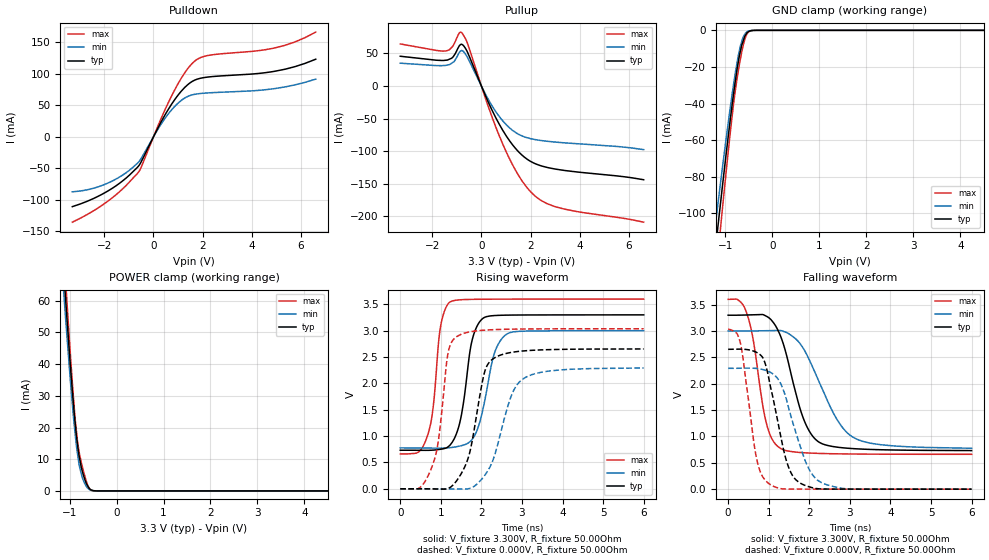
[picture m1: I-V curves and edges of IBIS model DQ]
| [Disclaimer]  This software code and all associated documentation, comments
| or other information (collectively "Software") is provided
| "AS IS" without warranty of any kind. MICRON TECHNOLOGY, INC.
| ("MTI") EXPRESSLY DISCLAIMS ALL WARRANTIES EXPRESS OR IMPLIED,
| INCLUDING BUT NOT LIMITED TO, NONINFRINGEMENT OF THIRD PARTY
| RIGHTS, AND ANY IMPLIED WARRANTIES OF MERCHANTABILITY OR
| FITNESS FOR ANY PARTICULAR PURPOSE. MTI DOES NOT WARRANT THAT
| THE SOFTWARE WILL MEET YOUR REQUIREMENTS, OR THAT THE
| OPERATION OF THE SOFTWARE WILL BE UNINTERRUPTED OR ERROR-FREE.
| FURTHERMORE, MTI DOES NOT MAKE ANY REPRESENTATIONS REGARDING
| THE USE OR THE RESULTS OF THE USE OF THE SOFTWARE IN TERMS OF
| ITS CORRECTNESS, ACCURACY, RELIABILITY, OR OTHERWISE. THE
| ENTIRE RISK ARISING OUT OF USE OR PERFORMANCE OF THE SOFTWARE
| REMAINS WITH YOU. IN NO EVENT SHALL MTI, ITS AFFILIATED
| COMPANIES OR THEIR SUPPLIERS BE LIABLE FOR ANY DIRECT,
| INDIRECT, CONSEQUENTIAL, INCIDENTAL, OR SPECIAL DAMAGES
| (INCLUDING, WITHOUT LIMITATION, DAMAGES FOR LOSS OF PROFITS,
| BUSINESS INTERRUPTION, OR LOSS OF INFORMATION) ARISING OUT OF
| YOUR USE OF OR INABILITY TO USE THE SOFTWARE, EVEN IF MTI HAS
| BEEN ADVISED OF THE POSSIBILITY OF SUCH DAMAGES. Because some
| jurisdictions prohibit the exclusion or limitation of
| liability for consequential or incidental damages, the above
| limitation may not apply to you.
| [Copyright] Copyright 2019 Micron Technology, Inc. All rights reserved.
| From y65a_it.ibs, Micron Technology, Inc.
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|   MODEL DQ
[Model]   DQ
Model_type   I/O
Vinl = 800.000mV
Vinh = 2.000V
Vmeas = 1.500V
Cref = 50.000pF
|   typ   min   max
C_comp   3.872pF   3.722pF   4.022pF
[Voltage Range]   3.300V   3.000V   3.600V
| Junction Temperature (Case temp is 35C typ, 85C min, -40C max)
[Temperature Range]   50.0   95.0   -40.0
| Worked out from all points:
|   slope of the pulldown table from 0 to 0.495 V, typ, clamps not added: 13.6 ohm
|   slope of the pullup table from 0 to 0.495 V, typ, clamps not added: 11.8 ohm
|   GND clamp passes 1 mA (typ) near -0.52 V on its own axis
|   POWER clamp passes 1 mA (typ) near -0.59 V on its own axis
|   falling waveform, V_fixture 3.300V, R_fixture 50.00Ohm: 20-80 % time 559ps typ, 834ps min, 371ps max; typ from 3.3 V to 0.732 V
|   rising waveform, V_fixture 3.300V, R_fixture 50.00Ohm: 20-80 % time 297ps typ, 371ps min, 227ps max; typ from 0.732 V to 3.3 V
|   rising waveform, V_fixture 0.000V, R_fixture 50.00Ohm: 20-80 % time 398ps typ, 536ps min, 288ps max; typ from 0 V to 2.65 V
|   falling waveform, V_fixture 0.000V, R_fixture 50.00Ohm: 20-80 % time 442ps typ, 561ps min, 319ps max; typ from 2.65 V to 0 V
[Pulldown]
|   Voltage   I(typ)   I(min)   I(max)
-3.3V     -110.6mA   -87.2mA    -135.3mA
-1.86V    -85.97mA   -73.4mA    -102.1mA
-1.115V   -65.41mA   -56.99mA   -77.2mA
-625mV    -47.14mA   -40.94mA   -56.8mA
-440mV    -35.13mA   -30.25mA   -42.7mA
240mV     18.47mA    15.87mA    22.57mA
685mV     48.55mA    40.32mA    60.69mA
1.23V     76.56mA    60.42mA    98.94mA
1.71V     90.37mA    67.59mA    121mA
2.37V     95.37mA    69.94mA    129.9mA
4.925V    103.8mA    76.42mA    140.8mA
6.6V      123mA      91.43mA    166mA
[GND Clamp]
|   Voltage   I(typ)   I(min)   I(max)
-3.3V     -648.2mA   -578.5mA   -739.3mA
-1.215V   -120.2mA   -106.8mA   -137.6mA
-1.145V   -103.9mA   -92.05mA   -118.9mA
-1.115V   -97.05mA   -85.72mA   -111mA
-1.08V    -89.06mA   -78.5mA    -101.9mA
-875mV    -44.44mA   -38.31mA   -51.05mA
-750mV    -21.03mA   -17.5mA    -26.17mA
-680mV    -11.38mA   -8.489mA   -15.68mA
-625mV    -6.097mA   -3.869mA   -8.739mA
-565mV    -2.374mA   -1.321mA   -3.287mA
-515mV    -896.2uA   -437uA     -1.127mA
6.6V      0A         0A         0A
[Pullup]
|   Voltage   I(typ)   I(min)   I(max)
-3.3V     45.67mA    35.05mA    64.57mA
-1.41V    39.69mA    31.94mA    54.02mA
-1.115V   46.66mA    37.32mA    64.32mA
-830mV    63.9mA     54.1mA     82.76mA
-565mV    51.92mA    43.73mA    65.57mA
205mV     -18.3mA    -15.31mA   -23.27mA
745mV     -59.89mA   -47.7mA    -78.02mA
1.41V     -96.82mA   -71.9mA    -130.8mA
1.995V    -115.6mA   -80.8mA    -162.1mA
2.445V    -122.8mA   -83.81mA   -176.2mA
3.085V    -128mA     -86.39mA   -186.2mA
6.6V      -143.9mA   -97.69mA   -209.1mA
[POWER Clamp]
|   Voltage   I(typ)   I(min)   I(max)
-3.3V     589.7mA    562.5mA    639.3mA
-1.14V    72.67mA    66.18mA    79.89mA
-1.115V   67.27mA    60.84mA    73.91mA
-1.08V    59.71mA    53.69mA    65.55mA
-1.06V    55.39mA    49.79mA    60.79mA
-935mV    30.66mA    26.55mA    32.99mA
-880mV    21.34mA    17.95mA    22.65mA
-830mV    14.6mA     11.71mA    15.51mA
-785mV    10.16mA    7.415mA    11.36mA
-730mV    6.315mA    4.255mA    7.813mA
-570mV    646.4uA    346.9uA    607.4uA
6.6V      0A         0A         0A
[Ramp]
R_load = 50.00Ohm
|   typ   min   max
dV/dt_r   1.592V/397.527ps   1.375V/536.012ps   1.822V/286.397ps
dV/dt_f   1.541V/558.831ps   1.334V/833.260ps   1.763V/370.354ps
[Falling Waveform]
V_fixture = 3.300V
V_fixture_min = 3.000V
V_fixture_max = 3.600V
R_fixture = 50.00Ohm
|   Time   V(typ)   V(min)   V(max)
0s        3.3V       3V         3.6V
450ps     3.304V     3V         3.356V
620ps     3.308V     3.002V     2.822V
940ps     3.282V     3.006V     1.258V
1.28ns    2.926V     3.011V     779.1mV
1.83ns    1.393V     2.698V     692.9mV
2.25ns    887.2mV    2.02V      678.1mV
2.75ns    790.9mV    1.242V     669.9mV
3.16ns    765.5mV    952.1mV    666.3mV
6ns       731.8mV    776mV      661.1mV
[Rising Waveform]
V_fixture = 3.300V
V_fixture_min = 3.000V
V_fixture_max = 3.600V
R_fixture = 50.00Ohm
|   Time   V(typ)   V(min)   V(max)
0s        731.8mV    776mV      661.1mV
680ps     729.9mV    773.4mV    1.026V
990ps     749.7mV    771.4mV    3.061V
1.22ns    823.7mV    780.1mV    3.541V
1.49ns    1.331V     815mV      3.587V
1.78ns    2.845V     946.1mV    3.595V
2.06ns    3.245V     1.585V     3.597V
2.32ns    3.287V     2.57V      3.598V
2.64ns    3.295V     2.942V     3.599V
6ns       3.3V       3V         3.6V
[Rising Waveform]
V_fixture = 0.000V
V_fixture_min = 0.000V
V_fixture_max = 0.000V
R_fixture = 50.00Ohm
|   Time   V(typ)   V(min)   V(max)
0s        25.07uV    28.16uV    11.48uV
790ps     -2.56mV    208.1uV    434.1mV
940ps     -4.468mV   -123.3uV   911mV
1.18ns    6.61mV     -2.039mV   2.583V
1.39ns    152mV      -3.93mV    2.886V
1.68ns    597.1mV    1.051mV    2.972V
2.06ns    2.16V      232.6mV    3.009V
2.28ns    2.462V     532mV      3.018V
3.01ns    2.614V     2.076V     3.032V
6ns       2.653V     2.292V     3.036V
[Falling Waveform]
V_fixture = 0.000V
V_fixture_min = 0.000V
V_fixture_max = 0.000V
R_fixture = 50.00Ohm
|   Time   V(typ)   V(min)   V(max)
0s        2.653V     2.292V     3.036V
290ps     2.656V     2.294V     2.806V
700ps     2.595V     2.29V      585.9mV
880ps     2.453V     2.264V     202.8mV
1.03ns    1.992V     2.22V      91.12mV
1.44ns    527.7mV    1.69V      2.998mV
1.81ns    100.8mV    733.2mV    1.031mV
2.15ns    15.15mV    207.3mV    600.1uV
2.63ns    1.362mV    41.99mV    333.3uV
6ns       25.07uV    28.16uV    11.48uV
